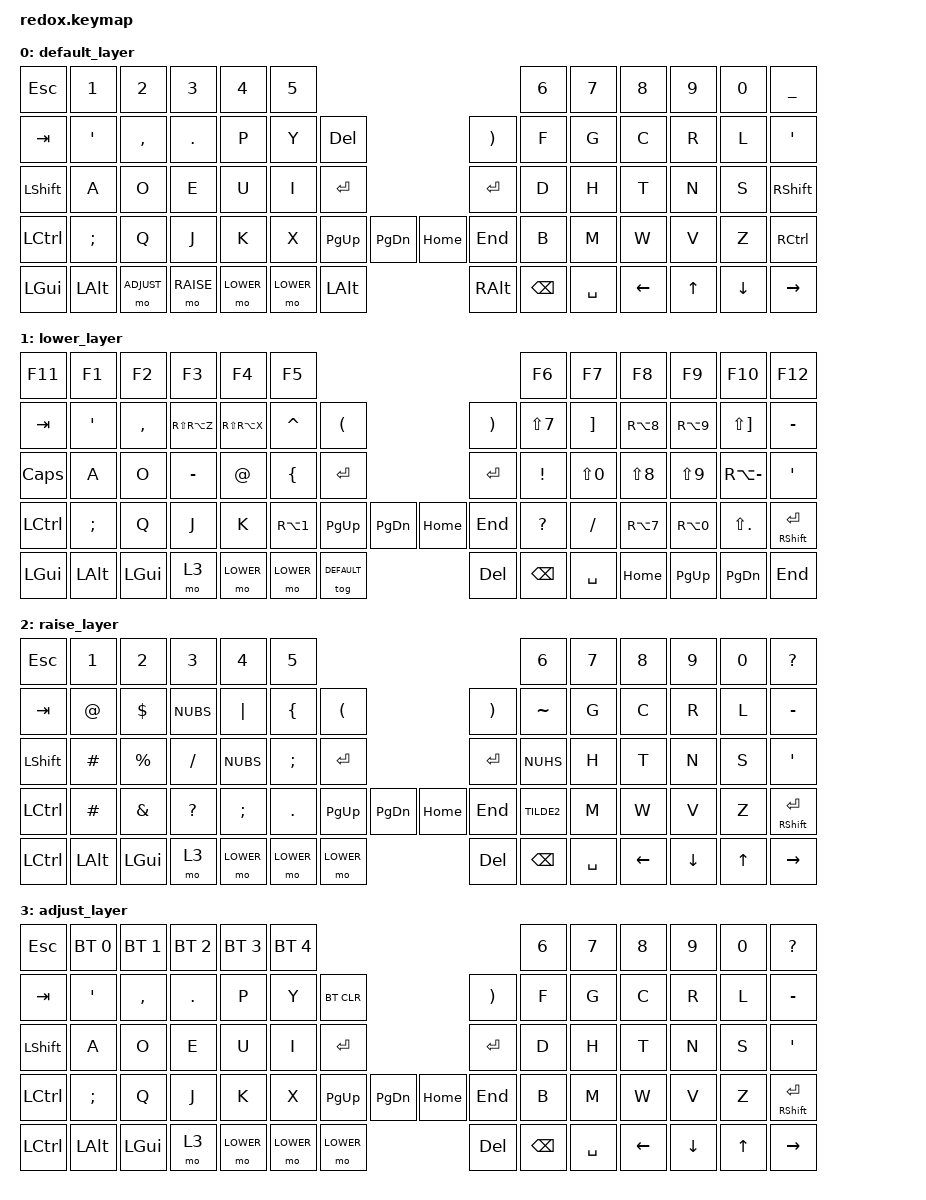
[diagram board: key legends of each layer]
/*
 * Copyright (c) 2021 The ZMK Contributors
 *
 * SPDX-License-Identifier: MIT
 */

#include <behaviors.dtsi>
#include <dt-bindings/zmk/keys.h>
#include <dt-bindings/zmk/bt.h>
#include <dt-bindings/zmk/ext_power.h>
#include <dt-bindings/zmk/outputs.h>

#define DEFAULT 0
#define LOWER 1
#define RAISE 2
#define ADJUST 3

/ {
    combos {
        compatible = "zmk,combos";
        combo_backspace {
            timeout-ms = <30>;
            key-positions = <35 36>;
            bindings = <&kp BKSP>;
        };
        combo_ret {
            timeout-ms = <20>;
            key-positions = <36 37>;
            bindings = <&kp RET>;
        };
        combo_tab {
            timeout-ms = <30>;
            key-positions = <29 30>;
            bindings = <&kp LS(TAB)>;
        };
        combo_rev_tab {
            timeout-ms = <30>;
            key-positions = <28 29>;
            bindings = <&kp TAB>;
        };
        combo_undo {
            timeout-ms = <50>;
            key-positions = <52 53>;
            bindings = <&kp LC(Z)>;
        };
        combo_redo {
            timeout-ms = <50>;
            key-positions = <53 54>;
            bindings = <&kp LC(Y)>;
        };
        combo_copy {
            timeout-ms = <50>;
            key-positions = <42 43>;
            bindings = <&kp LC(C)>;
        };
        combo_paste {
            timeout-ms = <50>;
            key-positions = <43 44>;
            bindings = <&kp LC(V)>;
        };
        combo_save {
            timeout-ms = <50>;
            key-positions = <37 38>;
            bindings = <&kp LC(S)>;
        };
    };
};

/ {
    keymap {
        compatible =  "zmk,keymap" ;

        default_layer {
            bindings = <
   &kp ESC   &kp N1   &kp N2     &kp N3   &kp N4    &kp N5                                        &kp N6    &kp N7 &kp N8    &kp N9   &kp N0   &kp UNDER
   &kp TAB   &kp SQT  &kp COMMA  &kp DOT  &kp P     &kp Y  &kp DEL                     &kp RPAR  &kp F     &kp G  &kp C     &kp R    &kp L    &kp SQT
   &kp LSHFT &kp A    &kp O      &kp E    &kp U     &kp I  &kp RET                     &kp RET    &kp D     &kp H  &kp T     &kp N    &kp S    &kp RSHFT
   &kp LCTRL &kp SEMI &kp Q      &kp J    &kp K     &kp X  &kp PG_UP &kp PG_DN &kp HOME &kp END   &kp B     &kp M  &kp W     &kp V    &kp Z    &kp RCTRL
   &kp LGUI &kp LALT &mo ADJUST   &mo RAISE  &mo LOWER &mo LOWER   &kp LALT &kp RALT  &kp BKSP       &kp SPACE      &kp LEFT  &kp UP &kp DOWN   &kp RIGHT
            >;
        };

        lower_layer {
            bindings = <
   &kp F11   &kp F1   &kp F2   &kp F3 &kp F4   &kp F5                                        &kp F6    &kp F7 &kp F8    &kp F9   &kp F10   &kp F12
   &kp TAB   &kp SQT    &kp COMMA    &kp RS(RA(Z))  &kp RS(RA(X))    &kp CARET  &kp LPAR            &kp RPAR  &kp LS(N7)  &kp RBKT  &kp RA(N8)     &kp RA(N9)   &kp LS(RBKT)    &kp MINUS
   &kp CAPS &kp A    &kp O    &kp MINUS  &kp AT_SIGN    &kp LBRC  &kp RET                     &kp RET  &kp EXCL   &kp LS(N0)  &kp LS(N8)   &kp LS(N9)    &kp RA(MINUS) &kp SQT
   &kp LCTRL &kp SEMI    &kp Q    &kp J  &kp K    &kp RA(N1)  &kp PG_UP &kp PG_DN &kp HOME &kp END   &kp QUESTION  &kp SLASH  &kp RA(N7) &kp RA(N0)  &kp LS(DOT) &mt RSHFT RET
   &kp LGUI &kp LALT &kp LGUI &mo 3      &mo LOWER    &mo LOWER     &tog DEFAULT &kp DEL  &kp BKSP       &kp SPACE      &kp HOME  &kp PG_UP &kp PG_DN   &kp END
            >;
        };

        raise_layer {
            bindings = <
   &kp ESC   &kp N1   &kp N2   &kp N3 &kp N4   &kp N5                                        &kp N6    &kp N7 &kp N8    &kp N9   &kp N0   &kp QUESTION
   &kp TAB   &kp AT_SIGN    &kp DOLLAR    &kp NUBS  &kp PIPE    &kp LBRC  &kp LPAR                     &kp RPAR  &kp TILDE     &kp G  &kp C     &kp R    &kp L    &kp MINUS
   &kp LSHFT &kp HASH    &kp PERCENT    &kp SLASH  &kp NUBS    &kp SEMICOLON  &kp RET                     &kp RET  &kp NUHS     &kp H  &kp T     &kp N    &kp S &kp SQT
   &kp LCTRL &kp POUND    &kp AMPERSAND    &kp QMARK  &kp SEMI    &kp PERIOD  &kp PG_UP &kp PG_DN &kp HOME &kp END   &kp TILDE2     &kp M  &kp W &kp V  &kp Z &mt RSHFT RET
   &kp LCTRL &kp LALT &kp LGUI &mo 3      &mo LOWER    &mo LOWER     &mo LOWER &kp DEL  &kp BKSP       &kp SPACE      &kp LEFT  &kp DOWN &kp UP   &kp RIGHT
            >;
        };

        adjust_layer {
            bindings = <
   &kp ESC   &bt BT_SEL 0   &bt BT_SEL 1  &bt BT_SEL 2 &bt BT_SEL 3   &bt BT_SEL 4                                        &kp N6    &kp N7 &kp N8    &kp N9   &kp N0   &kp QUESTION
   &kp TAB   &kp SQT    &kp COMMA    &kp DOT  &kp P    &kp Y  &bt BT_CLR                     &kp RPAR  &kp F     &kp G  &kp C     &kp R    &kp L    &kp MINUS
   &kp LSHFT &kp A    &kp O    &kp E  &kp U    &kp I  &kp RET                     &kp RET  &kp D     &kp H  &kp T     &kp N    &kp S &kp SQT
   &kp LCTRL &kp SEMI    &kp Q    &kp J  &kp K    &kp X  &kp PG_UP &kp PG_DN &kp HOME &kp END   &kp B     &kp M  &kp W &kp V  &kp Z &mt RSHFT RET
   &kp LCTRL &kp LALT &kp LGUI &mo 3      &mo LOWER    &mo LOWER     &mo LOWER &kp DEL  &kp BKSP       &kp SPACE      &kp LEFT  &kp DOWN &kp UP   &kp RIGHT
            >;
        };
    };
};
